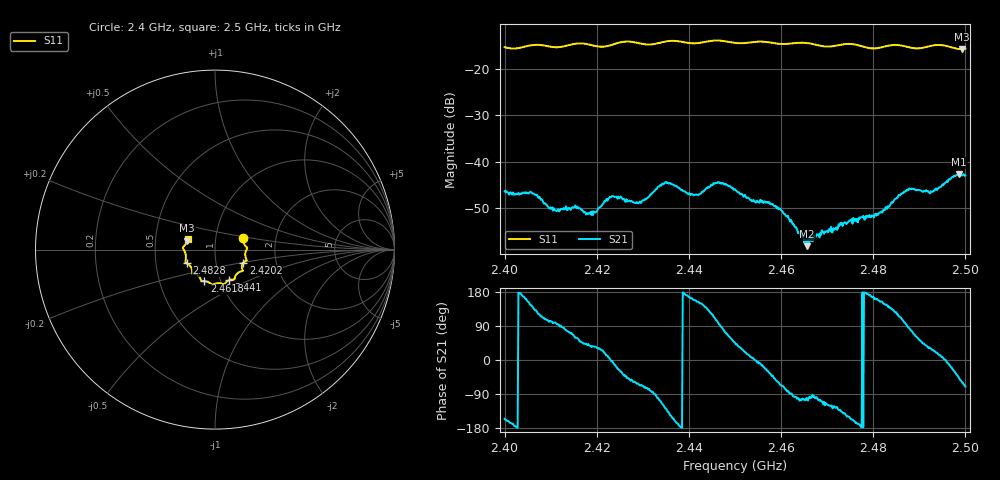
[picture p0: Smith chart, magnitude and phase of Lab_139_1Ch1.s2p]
# Hz S RI R 50
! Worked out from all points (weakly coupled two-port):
!   601 points, 2.4 GHz to 2.5 GHz, reference 50 ohm
!   highest |S21| = -42.63 dB at 2.4987 GHz (marker M1); lowest = -58.1 dB at 2.4657 GHz (marker M2)
!   lowest |S11| = -15.8 dB at 2.4992 GHz (marker M3), VSWR 1.39, Z = 36.4 + j3.71 ohm
!   |S11| at or under -10 dB: start of sweep to end of sweep
!   S12 and S22 are empty: the file has one direction only
!   S11 on the Smith chart (normalised r, x): 2.4 GHz: 1.36, +0.17; 2.4202 GHz: 1.36, -0.20; 2.441 GHz: 1.10, -0.39; 2.4618 GHz: 0.84, -0.30; 2.4828 GHz: 0.72, -0.11; 2.5 GHz: 0.73, +0.09
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2.4e9  0.1583 0.0622  -0.0044 -0.00202  0 0  0 0
2.406e9  0.1789 0.0111  -0.00358 0.0029  0 0  0 0
2.411e9  0.1691 -0.0172  -0.000463 0.00297  0 0  0 0
2.416667e9  0.177 -0.0606  0.00207 0.00223  0 0  0 0
2.420167e9  0.1579 -0.072  0.00261 0.0016  0 0  0 0
2.423333e9  0.1502 -0.101  0.00429 -0.000212  0 0  0 0
2.429333e9  0.1421 -0.1221  0.00148 -0.00344  0 0  0 0
2.433333e9  0.1117 -0.151  -0.000958 -0.00532  0 0  0 0
2.4355e9  0.1093 -0.165  -0.00435 -0.00396  0 0  0 0
2.441e9  0.0781 -0.1702  -0.00407 0.00158  0 0  0 0
2.446333e9  0.0491 -0.1949  -0.000906 0.00601  0 0  0 0
2.45e9  0.0278 -0.1875  0.00354 0.00367  0 0  0 0
2.461833e9  -0.0598 -0.1759  5.39e-05 -0.00239  0 0  0 0
2.465667e9  -0.0772 -0.1723  -0.000265 -0.00122  0 0  0 0
2.466667e9  -0.0786 -0.1678  -0.000138 -0.00149  0 0  0 0
2.482833e9  -0.1573 -0.0768  -0.00271 0.0018  0 0  0 0
2.483333e9  -0.1603 -0.0754  -0.00248 0.00219  0 0  0 0
2.4875e9  -0.1622 -0.0542  0.000224 0.00506  0 0  0 0
2.492667e9  -0.1766 0.00278  0.00422 0.00222  0 0  0 0
2.498667e9  -0.157 0.043  0.00486 -0.00556  0 0  0 0
2.499167e9  -0.1547 0.0496  0.004 -0.006  0 0  0 0
2.5e9  -0.1525 0.0611  0.00242 -0.00672  0 0  0 0
